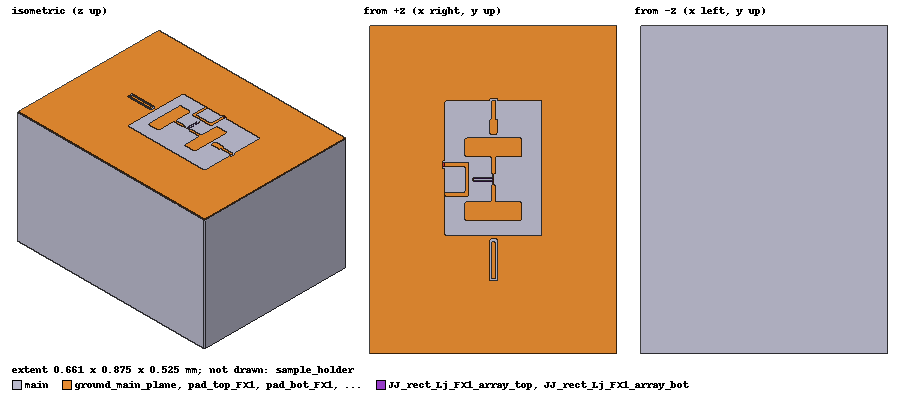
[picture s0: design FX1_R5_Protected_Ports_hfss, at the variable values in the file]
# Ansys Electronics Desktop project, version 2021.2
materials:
  silicon: permittivity=11.9
  silicon_eps11p45: permittivity=11.45
  vacuum: permittivity=1

design FX1_R5_Protected_Ports_hfss (HFSS, DrivenModal, model units mm)
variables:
  Lj = 10nH
  Cj = 0fF
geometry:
  pad_top_FX1 = polyline(z=0, xy: (-0.000415905, -0.000694025) (-0.00041562, -0.000693085) (-0.000415155, -0.00069222) (-0.000414535, -0.000691465) (-0.00041378, -0.000690845) (-0.000412915, -0.00069038) (-0.000411975, -0.000690095) (-0.000411, -0.00069) (-0.000269, -0.00069) (-0.000268025, -0.000690095) (-0.000267085, -0.00069038) (-0.00026622, -0.000690845) (-0.000265465, -0.000691465) (-0.000264845, -0.00069222) (-0.00026438, -0.000693085) (-0.000264095, -0.000694025) (-0.000264, -0.000695) (-0.000264, -0.000735) (-0.000264095, -0.000735975) (-0.00026438, -0.000736915) (-0.000264845, -0.00073778) (-0.000265465, -0.000738535) (-0.00026622, -0.000739155) (-0.000267085, -0.00073962) (-0.000268025, -0.000739905) (-0.000269, -0.00074) (-0.00033, -0.00074) (-0.000330975, -0.000740095) (-0.000331915, -0.00074038) (-0.00033278, -0.000740845) (-0.000333535, -0.000741465) (-0.000334155, -0.00074222) (-0.00033462, -0.000743085) (-0.000334905, -0.000744025) (-0.000335, -0.000745) (-0.000335, -0.0007832) (-0.000335035, -0.00078355) (-0.000335135, -0.00078389) (-0.000335305, -0.0007842) (-0.000335525, -0.000784475) (-0.0003358, -0.000784695) (-0.00033611, -0.000784865) (-0.00033645, -0.000784965) (-0.0003368, -0.000785) (-0.0003372, -0.000785) (-0.00033755, -0.000785035) (-0.00033789, -0.000785135) (-0.0003382, -0.000785305) (-0.000338475, -0.000785525) (-0.000338695, -0.0007858) (-0.000338865, -0.00078611) (-0.000338965, -0.00078645) (-0.000339, -0.0007868) (-0.000339, -0.000799) (-0.000341, -0.000799) (-0.000341, -0.0007868) (-0.000341035, -0.00078645) (-0.000341135, -0.00078611) (-0.000341305, -0.0007858) (-0.000341525, -0.000785525) (-0.0003418, -0.000785305) (-0.00034211, -0.000785135) (-0.00034245, -0.000785035) (-0.0003428, -0.000785) (-0.0003432, -0.000785) (-0.00034355, -0.000784965) (-0.00034389, -0.000784865) (-0.0003442, -0.000784695) (-0.000344475, -0.000784475) (-0.000344695, -0.0007842) (-0.000344865, -0.00078389) (-0.000344965, -0.00078355) (-0.000345, -0.0007832) (-0.000345, -0.000745) (-0.000345095, -0.000744025) (-0.00034538, -0.000743085) (-0.000345845, -0.00074222) (-0.000346465, -0.000741465) (-0.00034722, -0.000740845) (-0.000348085, -0.00074038) (-0.000349025, -0.000740095) (-0.00035, -0.00074) (-0.000411, -0.00074) (-0.000411975, -0.000739905) (-0.000412915, -0.00073962) (-0.00041378, -0.000739155) (-0.000414535, -0.000738535) (-0.000415155, -0.00073778) (-0.00041562, -0.000736915) (-0.000415905, -0.000735975) (-0.000416, -0.000735) (-0.000416, -0.000695) (-0.000415905, -0.000694025), closed, covered)
  pad_bot_FX1 = polyline(z=0, xy: (-0.000264095, -0.000905975) (-0.00026438, -0.000906915) (-0.000264845, -0.00090778) (-0.000265465, -0.000908535) (-0.00026622, -0.000909155) (-0.000267085, -0.00090962) (-0.000268025, -0.000909905) (-0.000269, -0.00091) (-0.000411, -0.00091) (-0.000411975, -0.000909905) (-0.000412915, -0.00090962) (-0.00041378, -0.000909155) (-0.000414535, -0.000908535) (-0.000415155, -0.00090778) (-0.00041562, -0.000906915) (-0.000415905, -0.000905975) (-0.000416, -0.000905) (-0.000416, -0.000865) (-0.000415905, -0.000864025) (-0.00041562, -0.000863085) (-0.000415155, -0.00086222) (-0.000414535, -0.000861465) (-0.00041378, -0.000860845) (-0.000412915, -0.00086038) (-0.000411975, -0.000860095) (-0.000411, -0.00086) (-0.00035, -0.00086) (-0.000349025, -0.000859905) (-0.000348085, -0.00085962) (-0.00034722, -0.000859155) (-0.000346465, -0.000858535) (-0.000345845, -0.00085778) (-0.00034538, -0.000856915) (-0.000345095, -0.000855975) (-0.000345, -0.000855) (-0.000345, -0.0008168) (-0.000344965, -0.00081645) (-0.000344865, -0.00081611) (-0.000344695, -0.0008158) (-0.000344475, -0.000815525) (-0.0003442, -0.000815305) (-0.00034389, -0.000815135) (-0.00034355, -0.000815035) (-0.0003432, -0.000815) (-0.0003428, -0.000815) (-0.00034245, -0.000814965) (-0.00034211, -0.000814865) (-0.0003418, -0.000814695) (-0.000341525, -0.000814475) (-0.000341305, -0.0008142) (-0.000341135, -0.00081389) (-0.000341035, -0.00081355) (-0.000341, -0.0008132) (-0.000341, -0.000801) (-0.000339, -0.000801) (-0.000339, -0.0008132) (-0.000338965, -0.00081355) (-0.000338865, -0.00081389) (-0.000338695, -0.0008142) (-0.000338475, -0.000814475) (-0.0003382, -0.000814695) (-0.00033789, -0.000814865) (-0.00033755, -0.000814965) (-0.0003372, -0.000815) (-0.0003368, -0.000815) (-0.00033645, -0.000815035) (-0.00033611, -0.000815135) (-0.0003358, -0.000815305) (-0.000335525, -0.000815525) (-0.000335305, -0.0008158) (-0.000335135, -0.00081611) (-0.000335035, -0.00081645) (-0.000335, -0.0008168) (-0.000335, -0.000855) (-0.000334905, -0.000855975) (-0.00033462, -0.000856915) (-0.000334155, -0.00085778) (-0.000333535, -0.000858535) (-0.00033278, -0.000859155) (-0.000331915, -0.00085962) (-0.000330975, -0.000859905) (-0.00033, -0.00086) (-0.000269, -0.00086) (-0.000268025, -0.000860095) (-0.000267085, -0.00086038) (-0.00026622, -0.000860845) (-0.000265465, -0.000861465) (-0.000264845, -0.00086222) (-0.00026438, -0.000863085) (-0.000264095, -0.000864025) (-0.000264, -0.000865) (-0.000264, -0.000905) (-0.000264095, -0.000905975), closed, covered)
  array_end_FX1 = polyline(z=0, xy: (-0.000394, -0.0007959) (-0.000393985, -0.000795725) (-0.00039393, -0.000795555) (-0.00039385, -0.0007954) (-0.000393735, -0.000795265) (-0.0003936, -0.00079515) (-0.000393445, -0.00079507) (-0.000393275, -0.000795015) (-0.0003931, -0.000795) (-0.000392, -0.000795) (-0.000392, -0.000805) (-0.0003931, -0.000805) (-0.000393275, -0.000804985) (-0.000393445, -0.00080493) (-0.0003936, -0.00080485) (-0.000393735, -0.000804735) (-0.00039385, -0.0008046) (-0.00039393, -0.000804445) (-0.000393985, -0.000804275) (-0.000394, -0.0008041) (-0.000394, -0.0007959), closed, covered)
  rect_pk_FX1 = polyline(z=0, xy: (-0.00047, -0.000595) (-0.000469905, -0.000594025) (-0.00046962, -0.000593085) (-0.000469155, -0.00059222) (-0.000468535, -0.000591465) (-0.00046778, -0.000590845) (-0.000466915, -0.00059038) (-0.000465975, -0.000590095) (-0.000465, -0.00059) (-0.000215, -0.00059) (-0.000214025, -0.000590095) (-0.000213085, -0.00059038) (-0.00021222, -0.000590845) (-0.000211465, -0.000591465) (-0.000210845, -0.00059222) (-0.00021038, -0.000593085) (-0.000210095, -0.000594025) (-0.00021, -0.000595) (-0.00021, -0.000945) (-0.000210095, -0.000945975) (-0.00021038, -0.000946915) (-0.000210845, -0.00094778) (-0.000211465, -0.000948535) (-0.00021222, -0.000949155) (-0.000213085, -0.00094962) (-0.000214025, -0.000949905) (-0.000215, -0.00095) (-0.000465, -0.00095) (-0.000465975, -0.000949905) (-0.000466915, -0.00094962) (-0.00046778, -0.000949155) (-0.000468535, -0.000948535) (-0.000469155, -0.00094778) (-0.00046962, -0.000946915) (-0.000469905, -0.000945975) (-0.00047, -0.000945) (-0.00047, -0.000595), closed, covered)
  flux_line_FX1 = polyline(z=0, xy: (-0.000467915, -0.00084462) (-0.00046878, -0.000844155) (-0.000469535, -0.000843535) (-0.000470155, -0.00084278) (-0.00047062, -0.000841915) (-0.000470905, -0.000840975) (-0.000471, -0.00084) (-0.000470905, -0.000839025) (-0.00047062, -0.000838085) (-0.000470155, -0.00083722) (-0.000469535, -0.000836465) (-0.00046878, -0.000835845) (-0.000467915, -0.00083538) (-0.000466975, -0.000835095) (-0.000466, -0.000835) (-0.00042, -0.000835) (-0.000419025, -0.000834905) (-0.000418085, -0.00083462) (-0.00041722, -0.000834155) (-0.000416465, -0.000833535) (-0.000415845, -0.00083278) (-0.00041538, -0.000831915) (-0.000415095, -0.000830975) (-0.000415, -0.00083) (-0.000415, -0.00077) (-0.000415095, -0.000769025) (-0.00041538, -0.000768085) (-0.000415845, -0.00076722) (-0.000416465, -0.000766465) (-0.00041722, -0.000765845) (-0.000418085, -0.00076538) (-0.000419025, -0.000765095) (-0.00042, -0.000765) (-0.00047, -0.000765) (-0.00047, -0.000755) (-0.00041, -0.000755) (-0.000409025, -0.000755095) (-0.000408085, -0.00075538) (-0.00040722, -0.000755845) (-0.000406465, -0.000756465) (-0.000405845, -0.00075722) (-0.00040538, -0.000758085) (-0.000405095, -0.000759025) (-0.000405, -0.00076) (-0.000405, -0.00084) (-0.000405095, -0.000840975) (-0.00040538, -0.000841915) (-0.000405845, -0.00084278) (-0.000406465, -0.000843535) (-0.00040722, -0.000844155) (-0.000408085, -0.00084462) (-0.000409025, -0.000844905) (-0.00041, -0.000845) (-0.000466, -0.000845) (-0.000466975, -0.000844905) (-0.000467915, -0.00084462), closed, covered)
  readout_line_FX1 = polyline(z=0, xy: (-0.00033149, -0.00064005) (-0.00033103, -0.00064019) (-0.0003306, -0.000640415) (-0.000330225, -0.000640725) (-0.000329915, -0.0006411) (-0.00032969, -0.00064153) (-0.00032955, -0.00064199) (-0.0003295, -0.000642475) (-0.0003295, -0.000675) (-0.000329595, -0.000675975) (-0.00032988, -0.000676915) (-0.000330345, -0.00067778) (-0.000330965, -0.000678535) (-0.00033172, -0.000679155) (-0.000332585, -0.00067962) (-0.000333525, -0.000679905) (-0.0003345, -0.00068) (-0.0003455, -0.00068) (-0.000346475, -0.000679905) (-0.000347415, -0.00067962) (-0.00034828, -0.000679155) (-0.000349035, -0.000678535) (-0.000349655, -0.00067778) (-0.00035012, -0.000676915) (-0.000350405, -0.000675975) (-0.0003505, -0.000675) (-0.0003505, -0.000642475) (-0.00035045, -0.00064199) (-0.00035031, -0.00064153) (-0.000350085, -0.0006411) (-0.000349775, -0.000640725) (-0.0003494, -0.000640415) (-0.00034897, -0.00064019) (-0.00034851, -0.00064005) (-0.000348025, -0.00064) (-0.000347475, -0.00064) (-0.00034699, -0.00063995) (-0.00034653, -0.00063981) (-0.0003461, -0.000639585) (-0.000345725, -0.000639275) (-0.000345415, -0.0006389) (-0.00034519, -0.00063847) (-0.00034505, -0.00063801) (-0.000345, -0.000637525) (-0.000345, -0.00059) (-0.000335, -0.00059) (-0.000335, -0.000637525) (-0.00033495, -0.00063801) (-0.00033481, -0.00063847) (-0.000334585, -0.0006389) (-0.000334275, -0.000639275) (-0.0003339, -0.000639585) (-0.00033347, -0.00063981) (-0.00033301, -0.00063995) (-0.000332525, -0.00064) (-0.000331975, -0.00064) (-0.00033149, -0.00064005), closed, covered)
  charge_line_FX1 = polyline(z=0, xy: (-0.000345, -0.00097) (-0.000344905, -0.000969025) (-0.00034462, -0.000968085) (-0.000344155, -0.00096722) (-0.000343535, -0.000966465) (-0.00034278, -0.000965845) (-0.000341915, -0.00096538) (-0.000340975, -0.000965095) (-0.00034, -0.000965) (-0.000339025, -0.000965095) (-0.000338085, -0.00096538) (-0.00033722, -0.000965845) (-0.000336465, -0.000966465) (-0.000335845, -0.00096722) (-0.00033538, -0.000968085) (-0.000335095, -0.000969025) (-0.000335, -0.00097) (-0.000335, -0.001065) (-0.000345, -0.001065) (-0.000345, -0.00097), closed, covered)
  charge_line_gap_FX1 = polyline(z=0, xy: (-0.000351, -0.000964) (-0.000350905, -0.000963025) (-0.00035062, -0.000962085) (-0.000350155, -0.00096122) (-0.000349535, -0.000960465) (-0.00034878, -0.000959845) (-0.000347915, -0.00095938) (-0.000346975, -0.000959095) (-0.000346, -0.000959) (-0.000334, -0.000959) (-0.000333025, -0.000959095) (-0.000332085, -0.00095938) (-0.00033122, -0.000959845) (-0.000330465, -0.000960465) (-0.000329845, -0.00096122) (-0.00032938, -0.000962085) (-0.000329095, -0.000963025) (-0.000329, -0.000964) (-0.000329, -0.001065) (-0.000351, -0.001065) (-0.000351, -0.000964), closed, covered)
  Port_FX1_rect_jj = rectangle(corner=(-0.000341, -0.000801, 0), x_size=2e-06, y_size=2e-06)
  voltage_line_Port_FX1_rect_jj = polyline((-0.00034, -0.000801, 0) (-0.00034, -0.000799, 0))
  JJ_rect_Lj_FX1_array_top = rectangle(corner=(-0.000392, -0.000797, 0), x_size=5.1e-05, y_size=2e-06)
  JJ_Lj_FX1_array_top_ = polyline((-0.000392, -0.000796, 0) (-0.000341, -0.000796, 0))
  JJ_rect_Lj_FX1_array_bot = rectangle(corner=(-0.000392, -0.000805, 0), x_size=5.1e-05, y_size=2e-06)
  JJ_Lj_FX1_array_bot_ = polyline((-0.000392, -0.000804, 0) (-0.000341, -0.000804, 0))
  endcap_FX1_readout_line = rectangle(corner=(-0.000351, -0.00059, 0), x_size=2.2e-05, y_size=6e-06)
  endcap_FX1_charge_line = rectangle(corner=(-0.000351, -0.001071, 0), x_size=2.2e-05, y_size=6e-06)
  endcap_FX1_flux_line = rectangle(corner=(-0.000476, -0.000771, 0), x_size=6e-06, y_size=2.2e-05)
  ground_main_plane = rectangle(corner=(-0.000671, -0.001265, 0), x_size=0.000661, y_size=0.000875)
  main [silicon] = box(corner=(-0.000671, -0.001265, -0.000525), size=(0.000661, 0.000875, 0.000525))
  sample_holder [vacuum] = box(corner=(-0.000671, -0.001265, -0.00165), size=(0.000661, 0.000875, 0.00254))
  ground_main_plane.subtract(endcap_FX1_flux_line, charge_line_gap_FX1, endcap_FX1_charge_line, rect_pk_FX1, endcap_FX1_readout_line)
  Port_FX1_flux_line = rectangle(corner=(-0.000476, -0.000765, 0), x_size=6e-06, y_size=1e-05)
  voltage_line_Port_FX1_flux_line = polyline((-0.00047, -0.00076, 0) (-0.000476, -0.00076, 0))
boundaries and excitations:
  Lj_Lj_FX1_array_top: Lumped RLC Objects=JJ_rect_Lj_FX1_array_top CurrentLine{middle of JJ_rect_Lj_FX1_array_top.edge(x at corner) -> middle of JJ_rect_Lj_FX1_array_top.edge(x opposite corner)} RLC_Type=Parallel Inductance=100nH
  Lj_Lj_FX1_array_bot: Lumped RLC Objects=JJ_rect_Lj_FX1_array_bot CurrentLine{middle of JJ_rect_Lj_FX1_array_bot.edge(x at corner) -> middle of JJ_rect_Lj_FX1_array_bot.edge(x opposite corner)} RLC_Type=Parallel Inductance=100nH
  PerfE: Perfect E Objects=[pad_top_FX1, pad_bot_FX1, array_end_FX1, flux_line_FX1, readout_line_FX1, charge_line_FX1, ground_main_plane]
  LumpPort_FX1_rect_jj: Lumped Port Objects=Port_FX1_rect_jj Modes{Mode1{IntLine{middle of Port_FX1_rect_jj.edge(y at corner) -> middle of Port_FX1_rect_jj.edge(y opposite corner)} CharImp=Zpi RenormImp=50ohm}} Impedance=50ohm
  LumpPort_FX1_flux_line: Lumped Port Objects=Port_FX1_flux_line Modes{Mode1{IntLine{middle of Port_FX1_flux_line.edge(x at corner) -> middle of Port_FX1_flux_line.edge(x opposite corner)} CharImp=Zpi RenormImp=50ohm}} Impedance=50ohm
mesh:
  small_mesh: LengthBased Objects=[JJ_rect_Lj_FX1_array_top, JJ_rect_Lj_FX1_array_bot] MaxLength=7um
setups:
  Setup: HfssDriven Frequency=0.1GHz MaxDeltaS=0.0002 MaximumPasses=15 MinimumPasses=12 MinimumConvergedPasses=3 PercentRefinement=30 BasisOrder=1 PortAccuracy=2
    sweep Sweep: 0.01GHz to 0.1GHz, 10 points; Type=Discrete
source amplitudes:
  LumpPort_FX1_rect_jj:1: 1W 0deg
  LumpPort_FX1_flux_line:1: 0W 0deg
